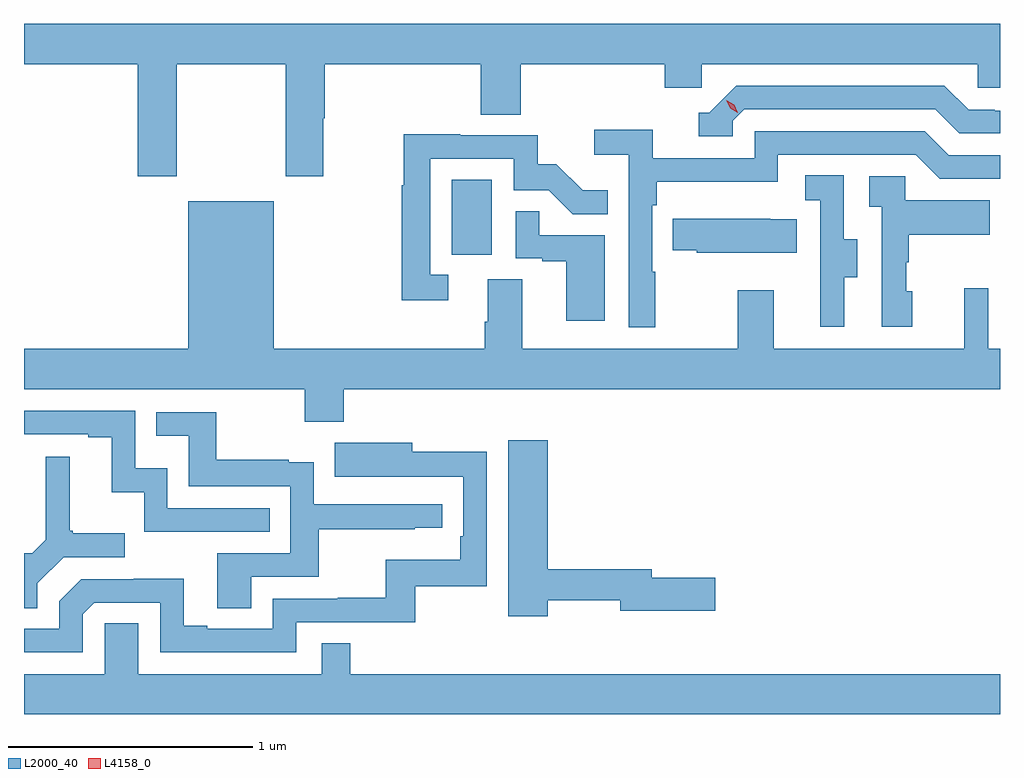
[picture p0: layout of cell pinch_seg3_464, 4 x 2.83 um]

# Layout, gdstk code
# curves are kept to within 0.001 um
import gdstk
lib = gdstk.Library(unit=1e-6, precision=1e-09)
def R(c, l, rs):  # rectangles x0, y0, x1, y1
    for r in rs: c.add(gdstk.rectangle(r[:2], r[2:], *l))
def P(c, l, *ps):  # polygons
    for p in ps: c.add(gdstk.Polygon(p, *l))
L2000_40 = (2000, 40)
L4158_0 = (4158, 0)

pinch_seg3_464 = lib.new_cell('pinch_seg3_464')
R(pinch_seg3_464, L2000_40, [(947.648,673.494,947.812,673.801)])
P(pinch_seg3_464, L2000_40, [(946.521,674.276),(946.966,674.276),(946.966,673.815),(947.121,673.815),(947.121,674.054),(947.126,674.054),(947.126,674.276),(947.765,674.276),(947.765,674.068),(947.93,674.068),(947.93,674.276),(948.521,674.276),(948.521,674.178),(948.672,674.178),(948.672,674.276),(949.803,674.276),(949.803,674.178),(949.894,674.178),(949.894,674.44),(945.894,674.44),(945.894,674.276),(946.361,674.276),(946.361,673.815),(946.521,673.815)],
  [(948.798,674.043),(948.846,674.091),(949.629,674.091),(949.728,673.992),(949.894,673.992),(949.894,674.085),(949.872,674.085),(949.872,674.088),(949.765,674.088),(949.666,674.187),(948.813,674.187),(948.702,674.076),(948.659,674.076),(948.659,673.98),(948.798,673.98)],
  [(948.481,673.424),(948.468,673.424),(948.468,673.697),(948.488,673.697),(948.488,673.793),(948.984,673.793),(948.984,673.905),(949.548,673.905),(949.647,673.806),(949.894,673.806),(949.894,673.902),(949.684,673.902),(949.585,674.001),(948.888,674.001),(948.888,673.89),(948.47,673.89),(948.47,674.006),(948.231,674.006),(948.231,673.904),(948.372,673.904),(948.372,673.197),(948.481,673.197)],
  [(947.632,673.413),(947.559,673.413),(947.559,673.887),(947.901,673.887),(947.901,673.758),(948.045,673.758),(948.143,673.66),(948.287,673.66),(948.287,673.759),(948.183,673.759),(948.076,673.866),(948,673.866),(948,673.983),(947.681,673.983),(947.681,673.988),(947.451,673.988),(947.451,673.78),(947.443,673.78),(947.443,673.308),(947.632,673.308)],
  [(949.255,673.402),(949.309,673.402),(949.309,673.557),(949.254,673.557),(949.254,673.82),(949.095,673.82),(949.095,673.717),(949.158,673.717),(949.158,673.413),(949.157,673.413),(949.157,673.2),(949.255,673.2)],
  [(949.534,673.344),(949.509,673.344),(949.509,673.463),(949.519,673.463),(949.519,673.577),(949.853,673.577),(949.853,673.717),(949.506,673.717),(949.506,673.815),(949.359,673.815),(949.359,673.691),(949.41,673.691),(949.41,673.2),(949.534,673.2)],
  [(947.204,672.944),(949.894,672.944),(949.894,673.108),(949.845,673.108),(949.845,673.357),(949.748,673.357),(949.748,673.108),(948.967,673.108),(948.967,673.348),(948.82,673.348),(948.82,673.108),(947.935,673.108),(947.935,673.394),(947.795,673.394),(947.795,673.22),(947.783,673.22),(947.783,673.108),(946.918,673.108),(946.918,673.714),(946.568,673.714),(946.568,673.108),(945.894,673.108),(945.894,672.944),(947.044,672.944),(947.044,672.809),(947.204,672.809)],
  [(948.274,673.575),(948.005,673.575),(948.005,673.673),(947.91,673.673),(947.91,673.479),(948.017,673.479),(948.017,673.467),(948.116,673.467),(948.116,673.224),(948.274,673.224)],
  [(949.061,673.639),(948.953,673.639),(948.953,673.642),(948.553,673.642),(948.553,673.513),(948.651,673.513),(948.651,673.502),(949.061,673.502)],
  [(946.901,672.456),(946.482,672.456),(946.482,672.619),(946.35,672.619),(946.35,672.855),(945.894,672.855),(945.894,672.759),(946.157,672.759),(946.157,672.747),(946.253,672.747),(946.253,672.521),(946.386,672.521),(946.386,672.36),(946.901,672.36)],
  [(946.825,672.174),(947.102,672.174),(947.102,672.37),(947.495,672.37),(947.495,672.375),(947.608,672.375),(947.608,672.471),(947.082,672.471),(947.082,672.643),(946.979,672.643),(946.979,672.655),(946.681,672.655),(946.681,672.849),(946.435,672.849),(946.435,672.752),(946.57,672.752),(946.57,672.546),(946.986,672.546),(946.986,672.27),(946.685,672.27),(946.685,672.046),(946.825,672.046)],
  [(948.04,672.078),(948.338,672.078),(948.338,672.035),(948.727,672.035),(948.727,672.17),(948.466,672.17),(948.466,672.206),(948.04,672.206),(948.04,672.733),(947.879,672.733),(947.879,672.012),(948.04,672.012)],
  [(946.134,672.021),(946.182,672.069),(946.452,672.069),(946.452,671.865),(947.01,671.865),(947.01,671.988),(947.497,671.988),(947.497,672.135),(947.79,672.135),(947.79,672.686),(947.485,672.686),(947.485,672.724),(947.167,672.724),(947.167,672.584),(947.694,672.585),(947.694,672.34),(947.681,672.34),(947.681,672.244),(947.376,672.244),(947.376,672.089),(947.179,672.089),(947.179,672.084),(946.914,672.084),(946.914,671.961),(946.645,671.961),(946.645,671.974),(946.549,671.974),(946.549,672.167),(946.344,672.167),(946.344,672.165),(946.128,672.165),(946.038,672.075),(946.038,671.961),(945.894,671.961),(945.894,671.865),(946.134,671.865)],
  [(945.949,672.148),(946.056,672.255),(946.306,672.255),(946.306,672.352),(946.093,672.352),(946.093,672.364),(946.081,672.364),(946.081,672.667),(945.984,672.667),(945.984,672.327),(945.927,672.27),(945.894,672.27),(945.894,672.046),(945.949,672.046)],
  [(949.894,671.776),(947.231,671.776),(947.231,671.903),(947.115,671.903),(947.115,671.776),(946.363,671.776),(946.363,671.984),(946.224,671.984),(946.224,671.776),(945.894,671.776),(945.894,671.612),(949.894,671.612)])
P(pinch_seg3_464, L4158_0, [(948.82,674.076),(948.789,674.095),(948.773,674.127),(948.773,674.128),(948.773,674.128),(948.804,674.108),(948.82,674.076),(948.82,674.076)])

lib.write_gds('pinch_seg3_464.gds')
